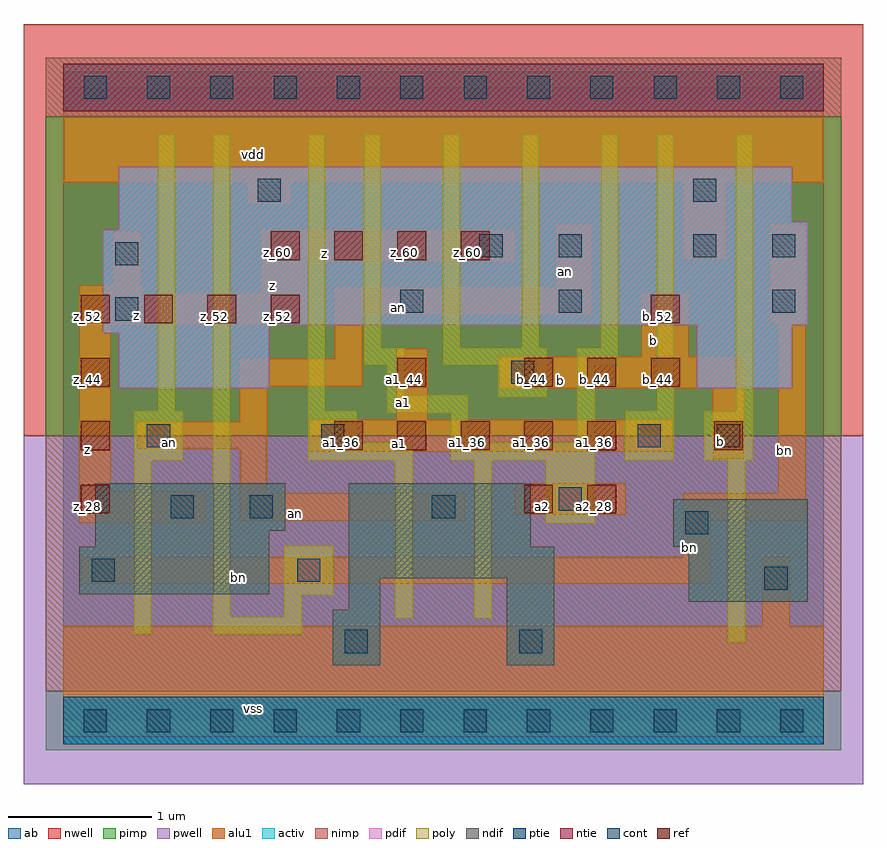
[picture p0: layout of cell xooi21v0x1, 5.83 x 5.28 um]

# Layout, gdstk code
import gdstk
lib = gdstk.Library(unit=1e-6, precision=2.5e-09)
def R(c, l, rs):  # rectangles x0, y0, x1, y1
    for r in rs: c.add(gdstk.rectangle(r[:2], r[2:], *l))
def A(c, l, x, y, w, h, nx, ny, dx, dy):  # array of equal rectangles
    R(c, l, [(x+i*dx, y+j*dy, x+i*dx+w, y+j*dy+h) for i in range(nx) for j in range(ny)])
ndif = (3, 0)
pdif = (4, 0)
ntie = (5, 0)
ptie = (6, 0)
ref = (24, 0)
cont = (25, 0)
pwell = (41, 0)
nwell = (42, 0)
activ = (43, 0)
pimp = (44, 0)
nimp = (45, 0)
poly = (46, 0)
alu1 = (49, 0)
ab = (63, 0)

xooi21v0x1 = lib.new_cell('xooi21v0x1')
R(xooi21v0x1, ndif, [(1.87,0.385,2.2,0.77), (3.08,0.385,3.41,0.99), (1.98,0.77,2.2,0.99), (4.345,0.825,5.17,1.21), (0.11,0.88,1.43,1.21), (1.98,0.99,3.41,1.21), (0.22,1.21,1.43,1.32), (1.98,1.21,3.245,1.65), (4.235,1.21,5.17,1.54), (0.22,1.32,1.54,1.65)])
R(xooi21v0x1, pdif, [(0.385,2.31,1.43,2.695), (4.4,2.31,5.06,2.75), (0.275,2.695,1.43,2.75), (0.275,2.75,5.17,3.41), (0.385,3.41,5.17,3.465), (0.385,3.465,5.06,3.85)])
R(xooi21v0x1, ntie, [(0,4.235,5.28,4.565)])
R(xooi21v0x1, ptie, [(0,-0.165,5.28,0.165)])
A(xooi21v0x1, ref, 0.12, 1.44, 0.2, 0.2, 1, 3, 0, 0.44)
A(xooi21v0x1, ref, 1.88, 1.88, 0.2, 0.2, 5, 1, 0.44, 0)
A(xooi21v0x1, ref, 3.2, 2.32, 0.2, 0.2, 3, 1, 0.44, 0)
A(xooi21v0x1, ref, 0.12, 2.76, 0.2, 0.2, 4, 1, 0.44, 0)
A(xooi21v0x1, ref, 1.44, 3.2, 0.2, 0.2, 4, 1, 0.44, 0)
R(xooi21v0x1, ref, [(3.2,1.44,3.4,1.64), (3.64,1.44,3.84,1.64), (4.52,1.88,4.72,2.08), (2.32,2.32,2.52,2.52), (4.08,2.76,4.28,2.96)])
A(xooi21v0x1, cont, 0.14, -0.08, 0.16, 0.16, 12, 2, 0.44, 4.4)
R(xooi21v0x1, cont, [(1.955,0.47,2.115,0.63), (3.165,0.47,3.325,0.63), (4.87,0.91,5.03,1.07), (0.195,0.965,0.355,1.125), (1.625,0.965,1.785,1.125), (4.32,1.295,4.48,1.455), (0.745,1.405,0.905,1.565), (1.295,1.405,1.455,1.565), (2.56,1.405,2.72,1.565), (3.44,1.46,3.6,1.62), (0.58,1.9,0.74,2.06), (1.79,1.9,1.95,2.06), (3.99,1.9,4.15,2.06), (4.54,1.9,4.7,2.06), (3.11,2.34,3.27,2.5), (0.36,2.78,0.52,2.94), (2.34,2.835,2.5,2.995), (3.44,2.835,3.6,2.995), (4.925,2.835,5.085,2.995), (0.36,3.165,0.52,3.325), (2.89,3.22,3.05,3.38), (3.44,3.22,3.6,3.38), (4.375,3.22,4.535,3.38), (4.925,3.22,5.085,3.38), (1.35,3.605,1.51,3.765), (4.375,3.605,4.535,3.765)])
R(xooi21v0x1, pwell, [(-0.275,-0.44,5.555,1.98)])
R(xooi21v0x1, nwell, [(-0.275,1.98,5.555,4.84)])
R(xooi21v0x1, activ, [(0,-0.165,5.28,0.165), (1.87,0.385,2.2,0.77), (3.08,0.385,3.41,0.99), (1.98,0.77,2.2,0.99), (4.345,0.825,5.17,1.21), (0.11,0.88,1.43,1.21), (1.98,0.99,3.41,1.21), (0.22,1.21,1.43,1.32), (1.98,1.21,3.245,1.65), (4.235,1.21,5.17,1.54), (0.22,1.32,1.54,1.65), (0.385,2.31,1.43,2.695), (4.4,2.31,5.06,2.75), (0.275,2.695,1.43,2.75), (0.275,2.75,5.17,3.41), (0.385,3.41,5.17,3.465), (0.385,3.465,5.06,3.85), (0,4.235,5.28,4.565)])
R(xooi21v0x1, pimp, [(-0.125,-0.205,5.405,0.205), (-0.125,1.98,5.405,4.195)])
R(xooi21v0x1, nimp, [(-0.125,0.205,5.405,1.98), (-0.125,4.195,5.405,4.605)])
A(xooi21v0x1, poly, 2.085, 2.59, 0.12, 1.485, 4, 1, 0.55, 0)
R(xooi21v0x1, poly, [(4.615,0.545,4.735,1.81), (0.49,0.6,0.61,1.81), (1.04,0.6,1.655,0.72), (2.305,0.71,2.425,1.81), (2.855,0.71,2.975,1.81), (1.04,0.72,1.16,4.075), (1.535,0.72,1.655,0.875), (1.535,0.875,1.875,1.215), (3.35,1.37,3.69,1.81), (0.49,1.81,0.83,2.15), (1.7,1.81,2.425,1.93), (2.69,1.81,3.69,1.93), (3.9,1.81,4.24,2.15), (4.45,1.81,4.79,2.15), (1.7,1.93,2.04,2.15), (2.69,1.93,2.81,2.14), (3.57,1.93,3.69,2.47), (2.25,2.14,2.81,2.26), (0.655,2.15,0.775,4.075), (1.7,2.15,1.82,4.075), (4.12,2.15,4.24,4.075), (4.67,2.15,4.79,4.075), (3.02,2.25,3.36,2.47), (2.25,2.26,2.37,2.47), (2.085,2.47,2.37,2.59), (2.635,2.47,3.36,2.59), (3.57,2.47,3.855,2.59)])
R(xooi21v0x1, alu1, [(0,-0.11,5.28,0.66), (4.855,0.66,5.045,1.14), (0.125,0.95,4.495,1.14), (4.305,1.14,4.495,1.39), (0.11,1.375,0.99,1.595), (1.225,1.39,2.79,1.58), (4.305,1.39,5.155,1.58), (3.135,1.43,3.905,1.65), (1.225,1.58,1.415,1.885), (4.965,1.58,5.155,2.765), (0.11,1.595,0.33,2.75), (4.51,1.815,4.73,2.31), (1.705,1.87,4.235,2.09), (0.51,1.885,1.415,2.075), (1.225,2.075,1.415,2.325), (2.31,2.09,2.53,2.585), (3.025,2.31,4.73,2.53), (1.225,2.325,2.075,2.515), (1.885,2.515,2.075,2.82), (4.015,2.53,4.345,2.97), (0.11,2.75,1.65,2.765), (0.11,2.765,1.69,2.97), (4.91,2.765,5.155,3.45), (1.885,2.82,3.67,3.01), (0.11,2.97,0.55,3.025), (1.375,2.97,1.69,3.19), (3.425,3.01,3.67,3.45), (0.345,3.025,0.535,3.395), (1.375,3.19,3.135,3.41), (4.305,3.205,4.605,3.74), (1.28,3.59,1.58,3.74), (0,3.74,5.28,4.51)])
R(xooi21v0x1, ab, [(0,0,5.28,4.4)])
xooi21v0x1.add(gdstk.Label('vss', (1.32,0.0825), layer=49, texttype=0))
xooi21v0x1.add(gdstk.Label('bn', (1.2175,0.9975), layer=49, texttype=0))
xooi21v0x1.add(gdstk.Label('bn', (4.3525,1.2025), layer=49, texttype=0))
xooi21v0x1.add(gdstk.Label('bn', (5.0125,1.875), layer=49, texttype=0))
xooi21v0x1.add(gdstk.Label('a2', (3.3275,1.485), layer=49, texttype=0))
xooi21v0x1.add(gdstk.Label('an', (1.615,1.4375), layer=49, texttype=0))
xooi21v0x1.add(gdstk.Label('b', (4.565,1.9375), layer=49, texttype=0))
xooi21v0x1.add(gdstk.Label('a1', (2.3375,1.925), layer=49, texttype=0))
xooi21v0x1.add(gdstk.Label('an', (0.735,1.9325), layer=49, texttype=0))
xooi21v0x1.add(gdstk.Label('b', (3.45,2.365), layer=49, texttype=0))
xooi21v0x1.add(gdstk.Label('b', (4.0975,2.64), layer=49, texttype=0))
xooi21v0x1.add(gdstk.Label('a1', (2.365,2.2125), layer=49, texttype=0))
xooi21v0x1.add(gdstk.Label('z', (0.165,1.8825), layer=49, texttype=0))
xooi21v0x1.add(gdstk.Label('an', (2.33,2.8675), layer=49, texttype=0))
xooi21v0x1.add(gdstk.Label('z', (0.505,2.815), layer=49, texttype=0))
xooi21v0x1.add(gdstk.Label('an', (3.485,3.12), layer=49, texttype=0))
xooi21v0x1.add(gdstk.Label('z', (1.4525,3.025), layer=49, texttype=0))
xooi21v0x1.add(gdstk.Label('z', (1.815,3.245), layer=49, texttype=0))
xooi21v0x1.add(gdstk.Label('vdd', (1.32,3.9325), layer=49, texttype=0))
xooi21v0x1.add(gdstk.Label('z_52', (0.61,2.81), layer=24, texttype=0))
xooi21v0x1.add(gdstk.Label('z_52', (1.05,2.81), layer=24, texttype=0))
xooi21v0x1.add(gdstk.Label('z_52', (1.49,2.81), layer=24, texttype=0))
xooi21v0x1.add(gdstk.Label('z_60', (1.49,3.25), layer=24, texttype=0))
xooi21v0x1.add(gdstk.Label('a1_36', (1.93,1.93), layer=24, texttype=0))
xooi21v0x1.add(gdstk.Label('z_60', (1.93,3.25), layer=24, texttype=0))
xooi21v0x1.add(gdstk.Label('z_28', (0.17,1.49), layer=24, texttype=0))
xooi21v0x1.add(gdstk.Label('z_36', (0.17,1.93), layer=24, texttype=0))
xooi21v0x1.add(gdstk.Label('z_44', (0.17,2.37), layer=24, texttype=0))
xooi21v0x1.add(gdstk.Label('z_52', (0.17,2.81), layer=24, texttype=0))
xooi21v0x1.add(gdstk.Label('a1_36', (2.37,1.93), layer=24, texttype=0))
xooi21v0x1.add(gdstk.Label('a1_44', (2.37,2.37), layer=24, texttype=0))
xooi21v0x1.add(gdstk.Label('z_60', (2.37,3.25), layer=24, texttype=0))
xooi21v0x1.add(gdstk.Label('a1_36', (2.81,1.93), layer=24, texttype=0))
xooi21v0x1.add(gdstk.Label('z_60', (2.81,3.25), layer=24, texttype=0))
xooi21v0x1.add(gdstk.Label('a2_28', (3.25,1.49), layer=24, texttype=0))
xooi21v0x1.add(gdstk.Label('a1_36', (3.25,1.93), layer=24, texttype=0))
xooi21v0x1.add(gdstk.Label('b_44', (3.25,2.37), layer=24, texttype=0))
xooi21v0x1.add(gdstk.Label('a2_28', (3.69,1.49), layer=24, texttype=0))
xooi21v0x1.add(gdstk.Label('a1_36', (3.69,1.93), layer=24, texttype=0))
xooi21v0x1.add(gdstk.Label('b_44', (3.69,2.37), layer=24, texttype=0))
xooi21v0x1.add(gdstk.Label('b_44', (4.13,2.37), layer=24, texttype=0))
xooi21v0x1.add(gdstk.Label('b_52', (4.13,2.81), layer=24, texttype=0))
xooi21v0x1.add(gdstk.Label('b_36', (4.57,1.93), layer=24, texttype=0))

lib.write_gds('xooi21v0x1.gds')
